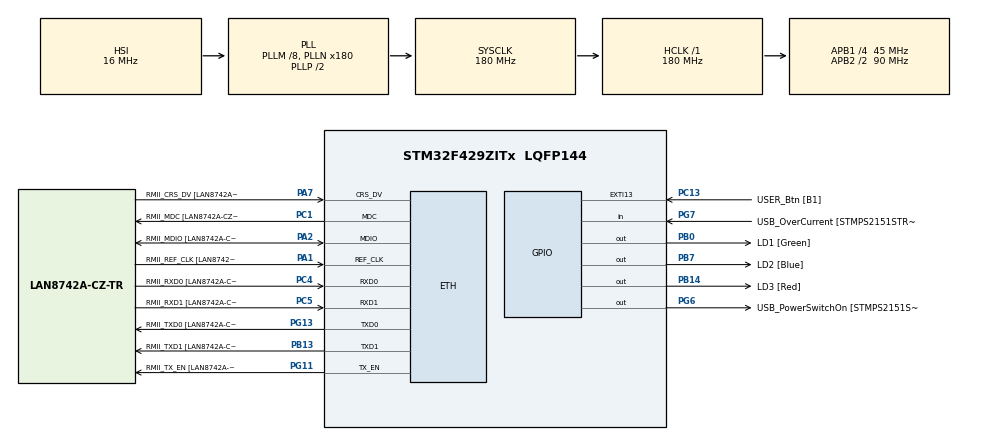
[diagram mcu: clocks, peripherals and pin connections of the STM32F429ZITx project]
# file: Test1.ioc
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ETH.MACAddr=00\:80\:E1\:00\:00\:01
ETH.MediaInterface=HAL_ETH_RMII_MODE
LWIP.BSP.number=1
LWIP.IP_ADDRESS=192.168.001.004
LWIP.LWIP_DHCP=0
LWIP.NETMASK_ADDRESS=255.255.255.000
LWIP.Version=v2.1.2_Cube
LWIP0.BSP.STBoard=false
LWIP0.BSP.api=BSP_COMPONENT_DRIVER
LWIP0.BSP.component=LAN8742
LWIP0.BSP.instance=LAN8742
LWIP0.BSP.name=Driver_PHY
LWIP0.BSP.semaphore=S_LAN8742
LWIP0.BSP.solution=LAN8742
Mcu.Family=STM32F4
Mcu.Name=STM32F429ZITx
Mcu.Package=LQFP144
NVIC.PriorityGroup=NVIC_PRIORITYGROUP_4
PA1.GPIO_Label=RMII_REF_CLK [LAN8742A-CZ-TR_REFCLK0]
PA1.Mode=RMII
PA1.Signal=ETH_REF_CLK
PA10.GPIO_Label=USB_ID
PA10.Signal=USB_OTG_FS_ID
PA11.GPIO_Label=USB_DM
PA11.Signal=USB_OTG_FS_DM
PA12.GPIO_Label=USB_DP
PA12.Signal=USB_OTG_FS_DP
PA13.GPIO_Label=TMS
PA13.Signal=SYS_JTMS-SWDIO
PA14.GPIO_Label=TCK
PA14.Signal=SYS_JTCK-SWCLK
PA2.GPIO_Label=RMII_MDIO [LAN8742A-CZ-TR_MDIO]
PA2.Mode=RMII
PA2.Signal=ETH_MDIO
PA7.GPIO_Label=RMII_CRS_DV [LAN8742A-CZ-TR_CRS_DV]
PA7.Mode=RMII
PA7.Signal=ETH_CRS_DV
PA8.GPIO_Label=USB_SOF [TP1]
PA8.Signal=USB_OTG_FS_SOF
PA9.GPIO_Label=USB_VBUS
PA9.Signal=USB_OTG_FS_VBUS
PB0.GPIO_Label=LD1 [Green]
PB0.Signal=GPIO_Output
PB13.GPIO_Label=RMII_TXD1 [LAN8742A-CZ-TR_TXD1]
PB13.Mode=RMII
PB13.Signal=ETH_TXD1
PB14.GPIO_Label=LD3 [Red]
PB14.Signal=GPIO_Output
PB7.GPIO_Label=LD2 [Blue]
PB7.Signal=GPIO_Output
PC1.GPIO_Label=RMII_MDC [LAN8742A-CZ-TR_MDC]
PC1.Mode=RMII
PC1.Signal=ETH_MDC
PC13.GPIO_Label=USER_Btn [B1]
PC13.Signal=GPXTI13
PC14/OSC32_IN.Signal=RCC_OSC32_IN
PC15/OSC32_OUT.Signal=RCC_OSC32_OUT
PC4.GPIO_Label=RMII_RXD0 [LAN8742A-CZ-TR_RXD0]
PC4.Mode=RMII
PC4.Signal=ETH_RXD0
PC5.GPIO_Label=RMII_RXD1 [LAN8742A-CZ-TR_RXD1]
PC5.Mode=RMII
PC5.Signal=ETH_RXD1
PD8.GPIO_Label=STLK_RX [STM32F103CBT6_PA3]
PD8.Signal=USART3_TX
PD9.GPIO_Label=STLK_TX [STM32F103CBT6_PA2]
PD9.Signal=USART3_RX
PG11.GPIO_Label=RMII_TX_EN [LAN8742A-CZ-TR_TXEN]
PG11.Mode=RMII
PG11.Signal=ETH_TX_EN
PG13.GPIO_Label=RMII_TXD0 [LAN8742A-CZ-TR_TXD0]
PG13.Mode=RMII
PG13.Signal=ETH_TXD0
PG6.GPIO_Label=USB_PowerSwitchOn [STMPS2151STR_EN]
PG6.Signal=GPIO_Output
PG7.GPIO_Label=USB_OverCurrent [STMPS2151STR_FAULT]
PG7.Signal=GPIO_Input
PH0/OSC_IN.GPIO_Label=MCO [STM32F103CBT6_PA8]
PH0/OSC_IN.Mode=HSE-External-Oscillator
PH0/OSC_IN.Signal=RCC_OSC_IN
PH1/OSC_OUT.Mode=HSE-External-Oscillator
PH1/OSC_OUT.Signal=RCC_OSC_OUT
ProjectManager.HeapSize=0x200
ProjectManager.StackSize=0x400
ProjectManager.TargetToolchain=STM32CubeIDE
RCC.48MHZClocksFreq_Value=90000000
RCC.AHBFreq_Value=180000000
RCC.APB1CLKDivider=RCC_HCLK_DIV4
RCC.APB1Freq_Value=45000000
RCC.APB1TimFreq_Value=90000000
RCC.APB2CLKDivider=RCC_HCLK_DIV2
RCC.APB2Freq_Value=90000000
RCC.APB2TimFreq_Value=180000000
RCC.CortexFreq_Value=180000000
RCC.HCLKFreq_Value=180000000
RCC.HSE_VALUE=8000000
RCC.HSI_VALUE=16000000
RCC.LSE_VALUE=32768
RCC.PLLM=8
RCC.PLLMUL=RCC_PLL_MUL9
RCC.PLLN=180
RCC.PRESCALERUSB=RCC_USBCLKSOURCE_PLL_DIV1_5
RCC.SYSCLKFreq_VALUE=180000000
RCC.SYSCLKSource=RCC_SYSCLKSOURCE_PLLCLK
RCC.SYSCLKSourceVirtual=RCC_SYSCLKSOURCE_PLLCLK
RCC.USBFreq_Value=48000000
RCC.VCOOutputFreq_Value=360000000
VP_LWIP_VS_Enabled.Mode=Enabled
board=NUCLEO-F429ZI

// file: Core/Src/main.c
/* USER CODE BEGIN Header */
/**
  ******************************************************************************
  * @file           : main.c
  * @brief          : Main program body
  ******************************************************************************
  * @attention
  *
  * Copyright (c) 2024 STMicroelectronics.
  * All rights reserved.
  *
  * This software is licensed under terms that can be found in the LICENSE file
  * in the root directory of this software component.
  * If no LICENSE file comes with this software, it is provided AS-IS.
  *
  ******************************************************************************
  */
/* USER CODE END Header */
#include "main.h"
#include "lwip.h"

/* USER CODE BEGIN Includes */
#include "lwip/pbuf.h"
#include "lwip/udp.h"
/* USER CODE END Includes */

/* USER CODE BEGIN PV */
uint32_t connected=0;
/* USER CODE END PV */

void SystemClock_Config(void);
static void MX_GPIO_Init(void);
/* USER CODE BEGIN PFP */
void udp_receive_callback(void *arg, struct udp_pcb *upcb, struct pbuf *p, const ip_addr_t *addr, u16_t port);
/* USER CODE END PFP */

int main(void)
{

  /* MCU Configuration--------------------------------------------------------*/

  /* Reset of all peripherals, Initializes the Flash interface and the Systick. */
  HAL_Init();

  /* Configure the system clock */
  SystemClock_Config();

  /* Initialize all configured peripherals */
  MX_GPIO_Init();
  MX_LWIP_Init();

  /* Infinite loop */
  /* USER CODE BEGIN WHILE */
  while (1)
  {
    struct udp_pcb *upcb;
    err_t err;
    ip_addr_t DestIPaddr;
    MX_LWIP_Process();
    if(connected){
    	connected=0;
      /* Create a new UDP control block  */
      upcb = udp_new();
      if(upcb!=NULL){
        /*assign destination IP address */
        IP4_ADDR( &DestIPaddr, 192, 168, 1, 1 );

        /* Using IP_ADDR_ANY allow the upcb to be used by any local interface */
         err = udp_bind(upcb, IP_ADDR_ANY, 3999);
        /* configure destination IP address and port */
        // err= udp_connect(upcb, &DestIPaddr, 3999);

        if (err == ERR_OK){
            /* Set a receive callback for the upcb */
          udp_recv(upcb, udp_receive_callback, NULL);
        	//  u8_t   data[100]= {"Hello"};
        	//  struct pbuf *p;
        	//  /* allocate pbuf from pool*/
        	//  p = pbuf_alloc(PBUF_TRANSPORT,strlen((char*)data), PBUF_POOL); /* Set a receive callback for the upcb */
        	// if (p != NULL)
        	// {
          //   /* Set a receive callback for the upcb */
          //   udp_recv(upcb, udp_receive_callback, NULL);
        	// 	/* copy data to pbuf */
          //   pbuf_take(p, (char*)data, strlen((char*)data));
          //   udp_send(upcb, p);
			    // /* free pbuf */
          //   pbuf_free(p);
          //   // udp_disconnect(upcb);
        	// }
        }
      }
    }
    /* USER CODE END WHILE */

  }
}

/**
  * @brief This function is called when an UDP datagrm has been received on the port UDP_PORT.
  * @param arg user supplied argument (udp_pcb.recv_arg)
  * @param pcb the udp_pcb which received data
  * @param p the packet buffer that was received
  * @param addr the remote IP address from which the packet was received
  * @param port the remote port from which the packet was received
  * @retval None
  */
void udp_receive_callback(void *arg, struct udp_pcb *upcb, struct pbuf *p, const ip_addr_t *addr, u16_t port){
  __NOP();
  udp_connect(upcb, addr, port);
    /* Tell the client that we have accepted it */
  udp_send(upcb, p);
   /* free the UDP connection, so we can accept new clients */
  udp_disconnect(upcb);
    /* Free receive pbuf */
  pbuf_free(p);
}

void SystemClock_Config(void)
{
  RCC_OscInitTypeDef RCC_OscInitStruct = {0};
  RCC_ClkInitTypeDef RCC_ClkInitStruct = {0};

  /** Configure the main internal regulator output voltage
  */
  __HAL_RCC_PWR_CLK_ENABLE();
  __HAL_PWR_VOLTAGESCALING_CONFIG(PWR_REGULATOR_VOLTAGE_SCALE1);

  /** Initializes the RCC Oscillators according to the specified parameters
  * in the RCC_OscInitTypeDef structure.
  */
  RCC_OscInitStruct.OscillatorType = RCC_OSCILLATORTYPE_HSI;
  RCC_OscInitStruct.HSIState = RCC_HSI_ON;
  RCC_OscInitStruct.HSICalibrationValue = RCC_HSICALIBRATION_DEFAULT;
  RCC_OscInitStruct.PLL.PLLState = RCC_PLL_ON;
  RCC_OscInitStruct.PLL.PLLSource = RCC_PLLSOURCE_HSI;
  RCC_OscInitStruct.PLL.PLLM = 8;
  RCC_OscInitStruct.PLL.PLLN = 180;
  RCC_OscInitStruct.PLL.PLLP = RCC_PLLP_DIV2;
  RCC_OscInitStruct.PLL.PLLQ = 4;
  if (HAL_RCC_OscConfig(&RCC_OscInitStruct) != HAL_OK)
  {
    Error_Handler();
  }

  /** Activate the Over-Drive mode
  */
  if (HAL_PWREx_EnableOverDrive() != HAL_OK)
  {
    Error_Handler();
  }

  /** Initializes the CPU, AHB and APB buses clocks
  */
  RCC_ClkInitStruct.ClockType = RCC_CLOCKTYPE_HCLK|RCC_CLOCKTYPE_SYSCLK
                              |RCC_CLOCKTYPE_PCLK1|RCC_CLOCKTYPE_PCLK2;
  RCC_ClkInitStruct.SYSCLKSource = RCC_SYSCLKSOURCE_PLLCLK;
  RCC_ClkInitStruct.AHBCLKDivider = RCC_SYSCLK_DIV1;
  RCC_ClkInitStruct.APB1CLKDivider = RCC_HCLK_DIV4;
  RCC_ClkInitStruct.APB2CLKDivider = RCC_HCLK_DIV2;

  if (HAL_RCC_ClockConfig(&RCC_ClkInitStruct, FLASH_LATENCY_5) != HAL_OK)
  {
    Error_Handler();
  }
}

static void MX_GPIO_Init(void)
{
  GPIO_InitTypeDef GPIO_InitStruct = {0};

  /* GPIO Ports Clock Enable */
  __HAL_RCC_GPIOC_CLK_ENABLE();
  __HAL_RCC_GPIOH_CLK_ENABLE();
  __HAL_RCC_GPIOA_CLK_ENABLE();
  __HAL_RCC_GPIOB_CLK_ENABLE();
  __HAL_RCC_GPIOD_CLK_ENABLE();
  __HAL_RCC_GPIOG_CLK_ENABLE();

  /*Configure GPIO pin Output Level */
  HAL_GPIO_WritePin(GPIOB, LD1_Pin|LD3_Pin|LD2_Pin, GPIO_PIN_RESET);

  /*Configure GPIO pin Output Level */
  HAL_GPIO_WritePin(USB_PowerSwitchOn_GPIO_Port, USB_PowerSwitchOn_Pin, GPIO_PIN_RESET);

  /*Configure GPIO pin : USER_Btn_Pin */
  GPIO_InitStruct.Pin = USER_Btn_Pin;
  GPIO_InitStruct.Mode = GPIO_MODE_IT_RISING;
  GPIO_InitStruct.Pull = GPIO_NOPULL;
  HAL_GPIO_Init(USER_Btn_GPIO_Port, &GPIO_InitStruct);

  /*Configure GPIO pins : LD1_Pin LD3_Pin LD2_Pin */
  GPIO_InitStruct.Pin = LD1_Pin|LD3_Pin|LD2_Pin;
  GPIO_InitStruct.Mode = GPIO_MODE_OUTPUT_PP;
  GPIO_InitStruct.Pull = GPIO_NOPULL;
  GPIO_InitStruct.Speed = GPIO_SPEED_FREQ_LOW;
  HAL_GPIO_Init(GPIOB, &GPIO_InitStruct);

  /*Configure GPIO pins : STLK_RX_Pin STLK_TX_Pin */
  GPIO_InitStruct.Pin = STLK_RX_Pin|STLK_TX_Pin;
  GPIO_InitStruct.Mode = GPIO_MODE_AF_PP;
  GPIO_InitStruct.Pull = GPIO_NOPULL;
  GPIO_InitStruct.Speed = GPIO_SPEED_FREQ_VERY_HIGH;
  GPIO_InitStruct.Alternate = GPIO_AF7_USART3;
  HAL_GPIO_Init(GPIOD, &GPIO_InitStruct);

  /*Configure GPIO pin : USB_PowerSwitchOn_Pin */
  GPIO_InitStruct.Pin = USB_PowerSwitchOn_Pin;
  GPIO_InitStruct.Mode = GPIO_MODE_OUTPUT_PP;
  GPIO_InitStruct.Pull = GPIO_NOPULL;
  GPIO_InitStruct.Speed = GPIO_SPEED_FREQ_LOW;
  HAL_GPIO_Init(USB_PowerSwitchOn_GPIO_Port, &GPIO_InitStruct);

  /*Configure GPIO pin : USB_OverCurrent_Pin */
  GPIO_InitStruct.Pin = USB_OverCurrent_Pin;
  GPIO_InitStruct.Mode = GPIO_MODE_INPUT;
  GPIO_InitStruct.Pull = GPIO_NOPULL;
  HAL_GPIO_Init(USB_OverCurrent_GPIO_Port, &GPIO_InitStruct);

  /*Configure GPIO pins : USB_SOF_Pin USB_ID_Pin USB_DM_Pin USB_DP_Pin */
  GPIO_InitStruct.Pin = USB_SOF_Pin|USB_ID_Pin|USB_DM_Pin|USB_DP_Pin;
  GPIO_InitStruct.Mode = GPIO_MODE_AF_PP;
  GPIO_InitStruct.Pull = GPIO_NOPULL;
  GPIO_InitStruct.Speed = GPIO_SPEED_FREQ_VERY_HIGH;
  GPIO_InitStruct.Alternate = GPIO_AF10_OTG_FS;
  HAL_GPIO_Init(GPIOA, &GPIO_InitStruct);

  /*Configure GPIO pin : USB_VBUS_Pin */
  GPIO_InitStruct.Pin = USB_VBUS_Pin;
  GPIO_InitStruct.Mode = GPIO_MODE_INPUT;
  GPIO_InitStruct.Pull = GPIO_NOPULL;
  HAL_GPIO_Init(USB_VBUS_GPIO_Port, &GPIO_InitStruct);

}

void Error_Handler(void)
{
  __disable_irq();
  while (1)
  {
  }
}
